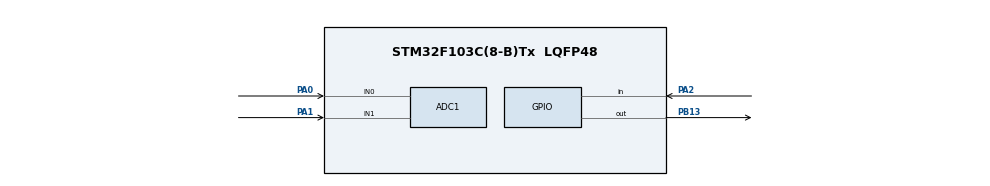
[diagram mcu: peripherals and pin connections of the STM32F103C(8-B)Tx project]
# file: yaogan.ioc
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ADC1.Channel-0\#ChannelRegularConversion=ADC_CHANNEL_0
ADC1.NbrOfConversionFlag=1
ADC1.Rank-0\#ChannelRegularConversion=1
ADC1.SamplingTime-0\#ChannelRegularConversion=ADC_SAMPLETIME_239CYCLES_5
ADC1.master=1
Mcu.Family=STM32F1
Mcu.Name=STM32F103C(8-B)Tx
Mcu.Package=LQFP48
NVIC.PriorityGroup=NVIC_PRIORITYGROUP_4
PA0-WKUP.Signal=ADCx_IN0
PA1.Signal=ADCx_IN1
PA13.Mode=Serial_Wire
PA13.Signal=SYS_JTMS-SWDIO
PA14.Mode=Serial_Wire
PA14.Signal=SYS_JTCK-SWCLK
PA2.GPIO_PuPd=GPIO_PULLUP
PA2.Signal=GPIO_Input
PB13.GPIO_ModeDefaultOutputPP=GPIO_MODE_OUTPUT_PP
PB13.PinState=GPIO_PIN_SET
PB13.Signal=GPIO_Output
ProjectManager.HeapSize=0x200
ProjectManager.StackSize=0x400
ProjectManager.TargetToolchain=MDK-ARM V5.32
RCC.APB1Freq_Value=8000000
RCC.APB2Freq_Value=8000000
SH.ADCx_IN0.0=ADC1_IN0,IN0
SH.ADCx_IN1.0=ADC1_IN1,IN1
board=custom

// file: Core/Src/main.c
/* USER CODE BEGIN Header */
/**
  ******************************************************************************
  * @file           : main.c
  * @brief          : Main program body
  ******************************************************************************
  * @attention
  *
  * <h2><center>&copy; Copyright (c) 2026 STMicroelectronics.
  * All rights reserved.</center></h2>
  *
  * This software component is licensed by ST under BSD 3-Clause license,
  * the "License"; You may not use this file except in compliance with the
  * License. You may obtain a copy of the License at:
  *                        opensource.org/licenses/BSD-3-Clause
  *
  ******************************************************************************
  */
/* USER CODE END Header */
#include "main.h"

ADC_HandleTypeDef hadc1;

void SystemClock_Config(void);
static void MX_GPIO_Init(void);
static void MX_ADC1_Init(void);

/* USER CODE BEGIN 0 */
uint16_t Read_ADC(uint32_t channel)
{
	ADC_ChannelConfTypeDef sConfig = {0};
	sConfig.Channel = channel;
	sConfig.Rank = 1;
	sConfig.SamplingTime  = ADC_SAMPLETIME_71CYCLES_5;

	HAL_ADC_ConfigChannel(&hadc1,&sConfig);

	HAL_ADC_Start(&hadc1);

	HAL_ADC_PollForConversion(&hadc1,10);

	uint16_t val =HAL_ADC_GetValue(&hadc1);

	HAL_ADC_Stop(&hadc1);

	return val;
}
uint16_t x = 0;
uint16_t y = 0;
uint16_t z = 0;
uint16_t x_val = 0;
uint16_t y_val = 0;
uint8_t sw_val = 0;

/* USER CODE END 0 */

int main(void)
{

  /* MCU Configuration--------------------------------------------------------*/

  /* Reset of all peripherals, Initializes the Flash interface and the Systick. */
  HAL_Init();

  /* Configure the system clock */
  SystemClock_Config();

  /* Initialize all configured peripherals */
  MX_GPIO_Init();
  MX_ADC1_Init();

  /* Infinite loop */
  /* USER CODE BEGIN WHILE */
  while (1)
  {
	  x_val = Read_ADC(ADC_CHANNEL_0);
	  y_val = Read_ADC(ADC_CHANNEL_1);

	  sw_val = HAL_GPIO_ReadPin(GPIOA,GPIO_PIN_2);

	  if(x_val > 3000)
	  {
	  HAL_GPIO_WritePin(GPIOB,GPIO_PIN_8,GPIO_PIN_SET);
	  }
	  if(y_val < 1870)
	  {
	  HAL_GPIO_WritePin(GPIOB,GPIO_PIN_9,GPIO_PIN_SET);
	  }
	  if(sw_val ==0)
	  {
	  HAL_GPIO_WritePin(GPIOB,GPIO_PIN_13,GPIO_PIN_RESET);
	  }
	  else{HAL_GPIO_WritePin(GPIOB,GPIO_PIN_13,GPIO_PIN_SET);}
	  HAL_Delay(10);

    /* USER CODE END WHILE */

  }
}

void SystemClock_Config(void)
{
  RCC_OscInitTypeDef RCC_OscInitStruct = {0};
  RCC_ClkInitTypeDef RCC_ClkInitStruct = {0};
  RCC_PeriphCLKInitTypeDef PeriphClkInit = {0};

  /** Initializes the RCC Oscillators according to the specified parameters
  * in the RCC_OscInitTypeDef structure.
  */
  RCC_OscInitStruct.OscillatorType = RCC_OSCILLATORTYPE_HSI;
  RCC_OscInitStruct.HSIState = RCC_HSI_ON;
  RCC_OscInitStruct.HSICalibrationValue = RCC_HSICALIBRATION_DEFAULT;
  RCC_OscInitStruct.PLL.PLLState = RCC_PLL_NONE;
  if (HAL_RCC_OscConfig(&RCC_OscInitStruct) != HAL_OK)
  {
    Error_Handler();
  }
  /** Initializes the CPU, AHB and APB buses clocks
  */
  RCC_ClkInitStruct.ClockType = RCC_CLOCKTYPE_HCLK|RCC_CLOCKTYPE_SYSCLK
                              |RCC_CLOCKTYPE_PCLK1|RCC_CLOCKTYPE_PCLK2;
  RCC_ClkInitStruct.SYSCLKSource = RCC_SYSCLKSOURCE_HSI;
  RCC_ClkInitStruct.AHBCLKDivider = RCC_SYSCLK_DIV1;
  RCC_ClkInitStruct.APB1CLKDivider = RCC_HCLK_DIV1;
  RCC_ClkInitStruct.APB2CLKDivider = RCC_HCLK_DIV1;

  if (HAL_RCC_ClockConfig(&RCC_ClkInitStruct, FLASH_LATENCY_0) != HAL_OK)
  {
    Error_Handler();
  }
  PeriphClkInit.PeriphClockSelection = RCC_PERIPHCLK_ADC;
  PeriphClkInit.AdcClockSelection = RCC_ADCPCLK2_DIV2;
  if (HAL_RCCEx_PeriphCLKConfig(&PeriphClkInit) != HAL_OK)
  {
    Error_Handler();
  }
}

static void MX_ADC1_Init(void)
{

  ADC_ChannelConfTypeDef sConfig = {0};

  /** Common config
  */
  hadc1.Instance = ADC1;
  hadc1.Init.ScanConvMode = ADC_SCAN_DISABLE;
  hadc1.Init.ContinuousConvMode = DISABLE;
  hadc1.Init.DiscontinuousConvMode = DISABLE;
  hadc1.Init.ExternalTrigConv = ADC_SOFTWARE_START;
  hadc1.Init.DataAlign = ADC_DATAALIGN_RIGHT;
  hadc1.Init.NbrOfConversion = 1;
  if (HAL_ADC_Init(&hadc1) != HAL_OK)
  {
    Error_Handler();
  }
  /** Configure Regular Channel
  */
  sConfig.Channel = ADC_CHANNEL_0;
  sConfig.Rank = ADC_REGULAR_RANK_1;
  sConfig.SamplingTime = ADC_SAMPLETIME_239CYCLES_5;
  if (HAL_ADC_ConfigChannel(&hadc1, &sConfig) != HAL_OK)
  {
    Error_Handler();
  }

}

static void MX_GPIO_Init(void)
{
  GPIO_InitTypeDef GPIO_InitStruct = {0};

  /* GPIO Ports Clock Enable */
  __HAL_RCC_GPIOA_CLK_ENABLE();
  __HAL_RCC_GPIOB_CLK_ENABLE();

  /*Configure GPIO pin Output Level */
  HAL_GPIO_WritePin(GPIOB, GPIO_PIN_13, GPIO_PIN_SET);

  /*Configure GPIO pin : PA2 */
  GPIO_InitStruct.Pin = GPIO_PIN_2;
  GPIO_InitStruct.Mode = GPIO_MODE_INPUT;
  GPIO_InitStruct.Pull = GPIO_PULLUP;
  HAL_GPIO_Init(GPIOA, &GPIO_InitStruct);

  /*Configure GPIO pin : PB13 */
  GPIO_InitStruct.Pin = GPIO_PIN_13;
  GPIO_InitStruct.Mode = GPIO_MODE_OUTPUT_PP;
  GPIO_InitStruct.Pull = GPIO_NOPULL;
  GPIO_InitStruct.Speed = GPIO_SPEED_FREQ_LOW;
  HAL_GPIO_Init(GPIOB, &GPIO_InitStruct);

}

void Error_Handler(void)
{
  __disable_irq();
  while (1)
  {
  }
}

/************************ (C) COPYRIGHT STMicroelectronics *****END OF FILE****/
